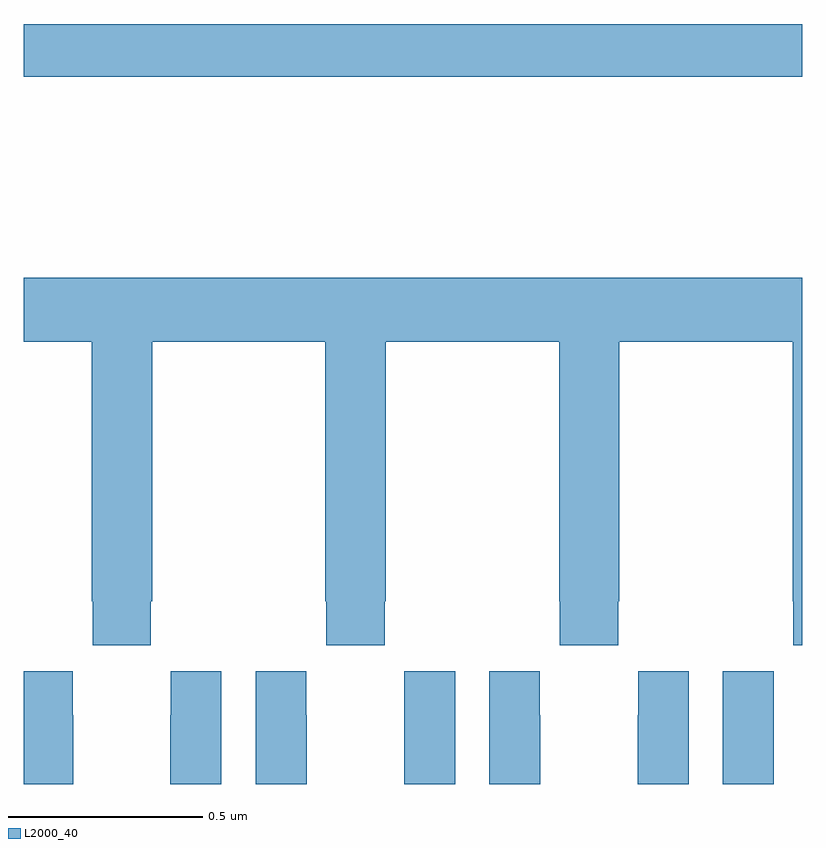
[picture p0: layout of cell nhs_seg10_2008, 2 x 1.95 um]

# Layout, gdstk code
import gdstk
lib = gdstk.Library(unit=1e-6, precision=1e-09)
def R(c, l, rs):  # rectangles x0, y0, x1, y1
    for r in rs: c.add(gdstk.rectangle(r[:2], r[2:], *l))
def P(c, l, *ps):  # polygons
    for p in ps: c.add(gdstk.Polygon(p, *l))
L2000_40 = (2000, 40)

nhs_seg10_2008 = lib.new_cell('nhs_seg10_2008')
R(nhs_seg10_2008, L2000_40, [(135,1314.316,137,1314.452)])
P(nhs_seg10_2008, L2000_40, [(135,1313.636),(135.175,1313.636),(135.175,1312.969),(135.177,1312.969),(135.177,1312.857),(135.327,1312.857),(135.327,1312.969),(135.33,1312.969),(135.33,1313.636),(135.775,1313.636),(135.775,1312.969),(135.777,1312.969),(135.777,1312.857),(135.927,1312.857),(135.927,1312.969),(135.93,1312.969),(135.93,1313.636),(136.375,1313.636),(136.375,1312.969),(136.377,1312.969),(136.377,1312.857),(136.527,1312.857),(136.527,1312.969),(136.53,1312.969),(136.53,1313.636),(136.975,1313.636),(136.975,1312.969),(136.977,1312.969),(136.977,1312.857),(137,1312.857),(137,1313.8),(135,1313.8)],
  [(136.927,1312.676),(136.926,1312.676),(136.926,1312.789),(136.796,1312.789),(136.796,1312.5),(136.927,1312.5)],
  [(136.708,1312.789),(136.578,1312.789),(136.578,1312.676),(136.577,1312.676),(136.577,1312.5),(136.708,1312.5)],
  [(136.327,1312.676),(136.326,1312.676),(136.326,1312.789),(136.196,1312.789),(136.196,1312.5),(136.327,1312.5)],
  [(136.108,1312.789),(135.978,1312.789),(135.978,1312.676),(135.977,1312.676),(135.977,1312.5),(136.108,1312.5)],
  [(135.727,1312.676),(135.726,1312.676),(135.726,1312.789),(135.596,1312.789),(135.596,1312.5),(135.727,1312.5)],
  [(135.508,1312.789),(135.378,1312.789),(135.378,1312.676),(135.377,1312.676),(135.377,1312.5),(135.508,1312.5)],
  [(135.127,1312.676),(135.126,1312.676),(135.126,1312.789),(135,1312.789),(135,1312.5),(135.127,1312.5)])

lib.write_gds('nhs_seg10_2008.gds')
